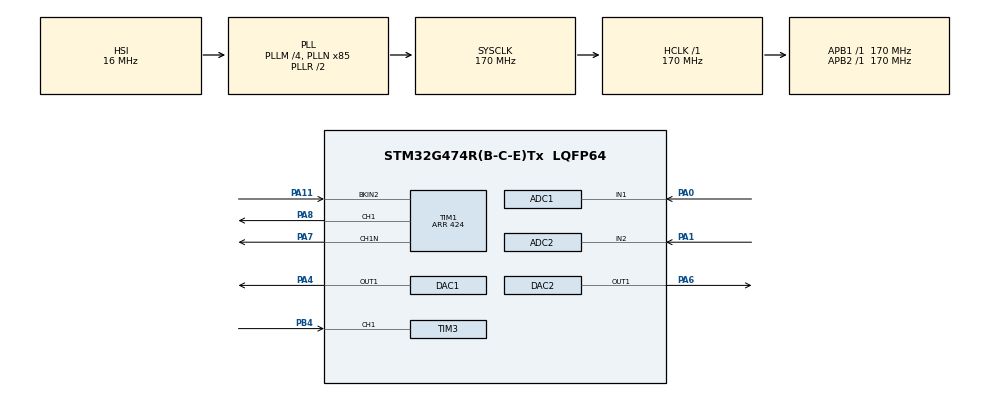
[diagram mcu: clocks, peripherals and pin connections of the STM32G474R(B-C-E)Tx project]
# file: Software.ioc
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ADC1.Channel-0\#ChannelRegularConversion=ADC_CHANNEL_1
ADC1.DMAAccessModeView=ENABLE
ADC1.DMAContinuousRequests=ENABLE
ADC1.ExternalTrigConv=ADC_EXTERNALTRIG_T1_TRGO
ADC1.Mode=ADC_DUALMODE_REGSIMULT
ADC1.NbrOfConversionFlag=1
ADC1.OffsetNumber-0\#ChannelRegularConversion=ADC_OFFSET_NONE
ADC1.Rank-0\#ChannelRegularConversion=1
ADC1.SamplingTime-0\#ChannelRegularConversion=ADC_SAMPLETIME_47CYCLES_5
ADC1.master=1
ADC2.Channel-0\#ChannelRegularConversion=ADC_CHANNEL_2
ADC2.DMAAccessModeView=ENABLE
ADC2.Mode=ADC_DUALMODE_REGSIMULT
ADC2.NbrOfConversionFlag=1
ADC2.OffsetNumber-0\#ChannelRegularConversion=ADC_OFFSET_NONE
ADC2.Rank-0\#ChannelRegularConversion=1
ADC2.SamplingTime-0\#ChannelRegularConversion=ADC_SAMPLETIME_47CYCLES_5
Dma.ADC1.0.Direction=DMA_PERIPH_TO_MEMORY
Dma.ADC1.0.EventEnable=DISABLE
Dma.ADC1.0.Instance=DMA1_Channel1
Dma.ADC1.0.MemDataAlignment=DMA_MDATAALIGN_WORD
Dma.ADC1.0.MemInc=DMA_MINC_DISABLE
Dma.ADC1.0.Mode=DMA_CIRCULAR
Dma.ADC1.0.PeriphDataAlignment=DMA_PDATAALIGN_WORD
Dma.ADC1.0.PeriphInc=DMA_PINC_DISABLE
Dma.ADC1.0.Polarity=HAL_DMAMUX_REQ_GEN_RISING
Dma.ADC1.0.Priority=DMA_PRIORITY_VERY_HIGH
Dma.ADC1.0.RequestNumber=1
Dma.ADC1.0.SignalID=NONE
Dma.ADC1.0.SyncEnable=DISABLE
Dma.ADC1.0.SyncPolarity=HAL_DMAMUX_SYNC_NO_EVENT
Dma.ADC1.0.SyncRequestNumber=1
Dma.ADC1.0.SyncSignalID=NONE
Dma.Request0=ADC1
IWDG.Prescaler=IWDG_PRESCALER_32
IWDG.Reload=1999
Mcu.Family=STM32G4
Mcu.Name=STM32G474R(B-C-E)Tx
Mcu.Package=LQFP64
NUCLEO-G474RE.BUTTON=0
NUCLEO-G474RE.LD2=true
NUCLEO-G474RE.VCP=true
NVIC.DMA1_Channel1_IRQn=true\:0\:0\:false\:false\:true\:false\:true\:true
NVIC.PriorityGroup=NVIC_PRIORITYGROUP_4
NVIC.TIM1_BRK_TIM15_IRQn=true\:1\:0\:true\:false\:true\:true\:true\:true
NVIC.TIM3_IRQn=true\:3\:0\:true\:false\:true\:true\:true\:true
PA0.Mode=IN1-Single-Ended
PA0.Signal=ADC1_IN1
PA1.Mode=IN2-Single-Ended
PA1.Signal=ADC2_IN2
PA11.Mode=Activate-Break-Input-2
PA11.Signal=TIM1_BKIN2
PA13.GPIO_Label=T_SWDIO
PA13.Signal=SYS_JTMS-SWDIO
PA14.GPIO_Label=T_SWCLK
PA14.Signal=SYS_JTCK-SWCLK
PA2.Signal=LPUART1_TX
PA3.Signal=LPUART1_RX
PA4.Signal=COMP_DAC11_group
PA6.Signal=COMP_DAC21_group
PA7.Mode=PWM Generation1 CH1 CH1N
PA7.Signal=TIM1_CH1N
PA8.Signal=S_TIM1_CH1
PB3.GPIO_Label=T_SWO
PB3.Signal=SYS_JTDO-SWO
PB4.Signal=S_TIM3_CH1
PC14-OSC32_IN.GPIO_Label=RCC_OSC32_IN
PC14-OSC32_IN.Signal=RCC_OSC32_IN
PC15-OSC32_OUT.GPIO_Label=RCC_OSC32_OUT
PC15-OSC32_OUT.Signal=RCC_OSC32_OUT
PF0-OSC_IN.GPIO_Label=RCC_OSC_IN
PF0-OSC_IN.Signal=RCC_OSC_IN
PF1-OSC_OUT.GPIO_Label=RCC_OSC_OUT
PF1-OSC_OUT.Signal=RCC_OSC_OUT
ProjectManager.HeapSize=0x200
ProjectManager.StackSize=0x400
ProjectManager.TargetToolchain=EWARM V8.50
RCC.ADC12Freq_Value=170000000
RCC.ADC345Freq_Value=170000000
RCC.AHBFreq_Value=170000000
RCC.APB1Freq_Value=170000000
RCC.APB1TimFreq_Value=170000000
RCC.APB2Freq_Value=170000000
RCC.APB2TimFreq_Value=170000000
RCC.CortexFreq_Value=170000000
RCC.EXTERNAL_CLOCK_VALUE=12288000
RCC.HCLKFreq_Value=170000000
RCC.HSE_VALUE=24000000
RCC.HSI48_VALUE=48000000
RCC.HSI_VALUE=16000000
RCC.LSE_VALUE=32768
RCC.PLLM=RCC_PLLM_DIV4
RCC.PLLN=85
RCC.RTCClockSelection=RCC_RTCCLKSOURCE_LSE
RCC.SYSCLKFreq_VALUE=170000000
RCC.SYSCLKSource=RCC_SYSCLKSOURCE_PLLCLK
RCC.USBFreq_Value=170000000
RCC.VCOOutputFreq_Value=340000000
SH.COMP_DAC11_group.0=DAC1_OUT1,DAC_OUT1
SH.COMP_DAC21_group.0=DAC2_OUT1,DAC_OUT1
SH.S_TIM1_CH1.0=TIM1_CH1,PWM Generation1 CH1 CH1N
SH.S_TIM3_CH1.0=TIM3_CH1,Input_Capture1_from_TI1
SH.S_TIM3_CH1.1=TIM3_CH1
TIM1.Break2Filter=2
TIM1.Channel-PWM\ Generation1\ CH1\ CH1N=TIM_CHANNEL_1
TIM1.DeadTime=17
TIM1.PeriodNoDither=424
TIM1.TIM_MasterOutputTrigger=TIM_TRGO_UPDATE
TIM3.Channel-Input_Capture1_from_TI1=TIM_CHANNEL_1
TIM3.Channel-Input_Capture2_from_TI1_63=TIM_CHANNEL_2
TIM3.ICPolarity_CH2=TIM_INPUTCHANNELPOLARITY_FALLING
VP_IWDG_VS_IWDG.Mode=IWDG_Activate
VP_NUCLEO-G474RE_VS_BSP_COMMON.Mode=COMMON
VP_SYS_VS_DBSignals.Mode=DisableDeadBatterySignals
VP_TIM3_VS_indirect_ch1.Mode=Input_Capture2_from_TI1_63
board=NUCLEO-G474RE

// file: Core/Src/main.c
/* USER CODE BEGIN Header */
/**
  ******************************************************************************
  * @file           : main.c
  * @brief          : Main program body
  ******************************************************************************
  * @attention
  *
  * Copyright (c) 2026 STMicroelectronics.
  * All rights reserved.
  *
  * This software is licensed under terms that can be found in the LICENSE file
  * in the root directory of this software component.
  * If no LICENSE file comes with this software, it is provided AS-IS.
  *
  ******************************************************************************
  */
/* USER CODE END Header */
#include "main.h"

/* USER CODE BEGIN PTD */
/* sys_state_t moved to main.h (USER CODE ET): it is now shared with the lean
 * DMA error path in stm32g4xx_it.c, which latches SYS_STATE_FAULT directly. */
/* USER CODE END PTD */

/* USER CODE BEGIN PD */
/* --- Power stage / timing --------------------------------------------------
 * TIM1: 170 MHz, PSC = 0, ARR = 424 -> Fsw = 400 kHz, period = 2.5 us.
 * DTG = 17 -> hardware dead-time = 17 / 170 MHz = 100 ns per switching edge. */
#define PWM_PERIOD_TICKS        425.0f      /* ARR + 1                                    */
#define CTRL_TS_SEC             2.5e-6f     /* control ISR period (TIM1 update = 400 kHz) */
#define PWM_DEADTIME_NS         100.0f
#define PWM_PERIOD_NS           2500.0f
/* LS on-time loses one dead-time at each of its two transitions -> 8 % of period */
#define PWM_DEADTIME_PCT        (2.0f * PWM_DEADTIME_NS / PWM_PERIOD_NS * 100.0f)
#define CCR_TO_PCT              (100.0f / PWM_PERIOD_TICKS)

/* --- Analog scaling (precomputed reciprocals: no division in the ISR) ------ */
#define ADC_VREF_V              3.3f
#define ADC_FULL_SCALE          4095.0f
#define VFB_DIVIDER_GAIN        0.4047619f  /* V_FB divider: ADC sees Vout * this         */
#define CURR_SENSE_V_PER_A      0.25f       /* INA241A3 gain 50 x 5 mOhm shunt            */
#define ADC_RAW_TO_VOUT_V       ((ADC_VREF_V / ADC_FULL_SCALE) / VFB_DIVIDER_GAIN)   /* ~1.9910e-3 V/LSB */
#define ADC_RAW_TO_AMPS         ((ADC_VREF_V / ADC_FULL_SCALE) / CURR_SENSE_V_PER_A) /* ~3.2234e-3 A/LSB */
#define AMPS_TO_DAC_COUNTS      (CURR_SENSE_V_PER_A * ADC_FULL_SCALE / ADC_VREF_V)   /* ~310.23 LSB/A    */
#define DAC_FULL_SCALE_A        13.2f       /* 3.3 V / 0.25 V/A: max representable trip   */

/* --- Limits / interlocks ---------------------------------------------------- */
#define OC_TRIP_MIN_A           0.5f        /* start refused while set_oc_trip_A < this   */
#define DUTY_MAX_ABS            0.98f       /* absolute ceiling for set_duty_max          */
#define VOUT_SET_MAX_V          8.0f        /* V_FB divider saturates the ADC at ~8.15 V  */
#define SOFTSTART_MS_MIN        1.0f        /* also guards the ramp-increment division    */
#define SOFTSTART_MS_MAX        10000.0f

/* --- Start-up hold ----------------------------------------------------------
 * Nothing may be armed for this long after reset. Gives the input rail, the
 * INA241 sense amp and the TLV3603 OC comparator (whose PROT_REF is only
 * written once the main loop reaches app_apply_dac_refs()) time to settle, and
 * gives the debugger time to take hold before the half-bridge can ever be
 * energized. Enforced as a non-blocking gate on cmd_start rather than as a
 * HAL_Delay(): the main loop must keep servicing the IWDG heartbeat gate and
 * the CubeMonitor variables throughout the hold.                              */
#define STARTUP_HOLD_MS         500u

/* --- LD2 state indicator blink cadence (non-blocking) ----------------------- */
#define LED_BLINK_SOFTSTART_MS  100u        /* fast blink while ramping                  */
#define LED_BLINK_RUN_MS        500u        /* slow blink while regulating               */
/* USER CODE END PD */

COM_InitTypeDef BspCOMInit;
ADC_HandleTypeDef hadc1;
ADC_HandleTypeDef hadc2;
DMA_HandleTypeDef hdma_adc1;

DAC_HandleTypeDef hdac1;
DAC_HandleTypeDef hdac2;

IWDG_HandleTypeDef hiwdg;

TIM_HandleTypeDef htim1;
TIM_HandleTypeDef htim3;

/* USER CODE BEGIN PV */
/* ===================== CubeMonitor: monitoring (firmware -> user) ========= */
volatile float    mon_vout_V             = 0.0f;           /* measured output voltage [V]            */
volatile float    mon_current_A          = 0.0f;           /* measured output current [A]            */
volatile float    mon_pwm_hs_duty_pct    = 0.0f;           /* high-side effective duty [%]           */
volatile float    mon_pwm_ls_duty_pct    = 0.0f;           /* low-side effective duty [%]            */
volatile uint8_t  mon_pwm_hs_active      = 0u;             /* 1 = MOE on and HS switching            */
volatile uint8_t  mon_pwm_ls_active      = 0u;             /* 1 = MOE on (LS driven)                 */
volatile uint8_t  mon_prot_out_state     = 0u;             /* live PROT_OUT pin level (PA11)         */
volatile uint8_t  mon_dt_out_state       = 0u;             /* live DT_OUT comparator level (PB4)     */
volatile uint32_t mon_dt_edge_count      = 0u;             /* total DT_OUT edges captured by TIM3    */
volatile uint32_t mon_dt_pulse_width_ns  = 0u;             /* last DT_OUT high-pulse width [ns]      */
volatile uint8_t  mon_sys_state          = SYS_STATE_INIT; /* sys_state_t enum                       */
volatile uint8_t  mon_fault_latched      = 0u;             /* 1 = BRK2 fault latched                 */
volatile uint8_t  mon_interlock_oc_not_armed = 0u;         /* 1 = set_oc_trip_A < 0.5 A, start blocked */
volatile uint32_t mon_ctrl_loop_count    = 0u;             /* 400 kHz control ISR heartbeat          */

/* ===================== CubeMonitor: tunables (user -> firmware) =========== */
volatile float set_vout_V       = 6.0f;   /* output voltage setpoint [V], clamp [0, 8.0]             */
volatile float set_kp           = 0.02f;  /* PI proportional gain [duty/V], clamp >= 0               */
volatile float set_ki           = 50.0f;  /* PI integral gain [duty/(V*s)], clamp >= 0               */
volatile float set_oc_trip_A    = 0.0f;   /* OC comparator trip [A]; must be >= 0.5 A to allow start */
volatile float set_dt_ref_A     = 0.1f;   /* switching-activity comparator threshold [A]             */
volatile float set_duty_max     = 0.95f;  /* HS duty ceiling [0..1], clamp [0, 0.98]                 */
volatile float set_softstart_ms = 50.0f;  /* soft-start ramp duration [ms], clamp [1, 10000]         */

/* ===================== CubeMonitor: commands (write 1; consumed by main loop) */
volatile uint8_t cmd_start       = 0u;    /* request IDLE -> SOFT_START                              */
volatile uint8_t cmd_stop        = 0u;    /* request SOFT_START/RUN -> IDLE                          */
volatile uint8_t cmd_clear_fault = 0u;    /* request FAULT -> IDLE (only if PROT_OUT low)            */

/* ===================== internal control state ============================= */
static volatile uint32_t adc_dual_raw = 0u;       /* DMA dest: ADC1 (V_FB) low half, ADC2 (SENSE) high half */
static volatile float ctrl_integrator = 0.0f;     /* PI integrator [duty]                                   */
static volatile float ctrl_duty_limit = 0.0f;     /* soft-start ramped duty ceiling [duty]                  */
static volatile float ctrl_ss_increment = 0.0f;   /* duty-limit increment per control tick                  */
static volatile float ctrl_duty_max_cached = 0.0f;/* clamped copy of set_duty_max (main-loop owned)         */
static volatile uint8_t ctrl_ramp_done = 0u;      /* control ISR -> main loop: soft-start ramp finished     */
static float dac_oc_applied_A = -1.0f;            /* last value written to PROT_REF (-1 forces first write) */
static float dac_dt_applied_A = -1.0f;            /* last value written to DT_REF                           */
static uint32_t iwdg_last_ctrl_count = 0u;        /* main-loop copy of the control heartbeat                */
static uint32_t led_last_toggle_ms = 0u;          /* HAL_GetTick() at the last LD2 toggle (blink codes)     */
/* USER CODE END PV */

void SystemClock_Config(void);
static void MX_GPIO_Init(void);
static void MX_DMA_Init(void);
static void MX_ADC1_Init(void);
static void MX_ADC2_Init(void);
static void MX_TIM1_Init(void);
static void MX_DAC1_Init(void);
static void MX_DAC2_Init(void);
static void MX_IWDG_Init(void);
static void MX_TIM3_Init(void);
/* USER CODE BEGIN PFP */
static void app_clamp_tunables(void);
static void app_apply_dac_refs(void);
static void app_enter_idle(void);
static void app_arm_soft_start(void);
static void app_clear_fault(void);
/* USER CODE END PFP */

int main(void)
{

  /* MCU Configuration--------------------------------------------------------*/

  /* Reset of all peripherals, Initializes the Flash interface and the Systick. */
  HAL_Init();

  /* Configure the system clock */
  SystemClock_Config();

  /* USER CODE BEGIN SysInit */
  /* Freeze TIM1 and IWDG while the core is halted by the debugger: breakpoints
     must not leave the power stage mid-PWM-cycle or trip the watchdog.        */
  __HAL_DBGMCU_FREEZE_TIM1();
  __HAL_DBGMCU_FREEZE_IWDG();
  /* USER CODE END SysInit */

  /* Initialize all configured peripherals */
  MX_GPIO_Init();
  MX_DMA_Init();
  MX_ADC1_Init();
  MX_ADC2_Init();
  MX_TIM1_Init();
  MX_DAC1_Init();
  MX_DAC2_Init();
  MX_IWDG_Init();
  MX_TIM3_Init();
  /* USER CODE BEGIN 2 */
  /* --- ADC calibration: both units, single-ended, before any conversion --- */
  if (HAL_ADCEx_Calibration_Start(&hadc1, ADC_SINGLE_ENDED) != HAL_OK)
  {
    Error_Handler();
  }
  if (HAL_ADCEx_Calibration_Start(&hadc2, ADC_SINGLE_ENDED) != HAL_OK)
  {
    Error_Handler();
  }

  /* --- DAC comparator references: start and apply the power-on defaults.
         PROT_REF (DAC1_OUT1/PA4) from set_oc_trip_A (default 0 A = disarmed),
         DT_REF   (DAC2_OUT1/PA6) from set_dt_ref_A  (default 0.1 A).        */
  if (HAL_DAC_Start(&hdac1, DAC_CHANNEL_1) != HAL_OK)
  {
    Error_Handler();
  }
  if (HAL_DAC_Start(&hdac2, DAC_CHANNEL_1) != HAL_OK)
  {
    Error_Handler();
  }
  app_clamp_tunables();
  app_apply_dac_refs();

  /* --- Dual regular-simultaneous ADC via DMA: one circular 32-bit transfer
         from the common data register (ADC1 low half, ADC2 high half).      */
  if (HAL_ADCEx_MultiModeStart_DMA(&hadc1, (uint32_t *)&adc_dual_raw, 1u) != HAL_OK)
  {
    Error_Handler();
  }
  /* With NDTR = 1 the half-transfer event fires together with transfer-complete;
     left enabled it would double the 400 kHz interrupt load for nothing. Only
     TC runs the lean dispatch in DMA1_Channel1_IRQHandler (stm32g4xx_it.c),
     which clears the stale HT flag alongside TC.                              */
  __HAL_DMA_DISABLE_IT(&hdma_adc1, DMA_IT_HT);

  /* --- TIM3 input captures for the switching-activity comparator (DT_OUT/PB4).
         Edges are serviced by a lean handler in stm32g4xx_it.c.              */
  if (HAL_TIM_IC_Start_IT(&htim3, TIM_CHANNEL_1) != HAL_OK)  /* rising edge  */
  {
    Error_Handler();
  }
  if (HAL_TIM_IC_Start_IT(&htim3, TIM_CHANNEL_2) != HAL_OK)  /* falling edge */
  {
    Error_Handler();
  }

  /* --- TIM1: run the counter so TRGO keeps triggering the ADCs from boot, with
         both gate outputs held inactive. HAL_TIM_PWM_Start/PWMN_Start are NOT
         used here: both set MOE internally, which would drive the LS gate for
         several microseconds at boot — dangerous after a warm reset with a
         charged output. Direct register writes enable the channels and the
         counter without ever touching MOE (CCR1 is already 0, MOE stays 0 from
         reset); OSSR = Enable means both outputs are actively driven to their
         inactive level, not floated. app_arm_soft_start() is the ONLY place in
         the firmware where MOE is ever set.                                   */
  htim1.Instance->CCR1 = 0u;
  TIM1->CCER |= (TIM_CCER_CC1E | TIM_CCER_CC1NE);  /* HS: PA8, LS: PA7        */
  TIM1->CR1  |= TIM_CR1_CEN;                       /* TRGO = Update -> ADCs   */
  /* The generated init does not enable the break interrupt source; the NVIC
     vector alone is not enough for HAL_TIMEx_Break2Callback to fire.         */
  __HAL_TIM_ENABLE_IT(&htim1, TIM_IT_BREAK);

  /* INIT -> IDLE: outputs off, converter waits for cmd_start. A BRK2 event can
     already fire here (PROT_OUT stuck high at boot) — never overwrite a
     freshly latched FAULT with IDLE.                                          */
  __disable_irq();
  if (mon_sys_state != SYS_STATE_FAULT)
  {
    mon_sys_state = SYS_STATE_IDLE;
  }
  __enable_irq();
  /* USER CODE END 2 */

  /* Initialize led */
  BSP_LED_Init(LED_GREEN);

  /* Initialize COM1 port (115200, 8 bits (7-bit data + 1 stop bit), no parity */
  BspCOMInit.BaudRate   = 115200;
  BspCOMInit.WordLength = COM_WORDLENGTH_8B;
  BspCOMInit.StopBits   = COM_STOPBITS_1;
  BspCOMInit.Parity     = COM_PARITY_NONE;
  BspCOMInit.HwFlowCtl  = COM_HWCONTROL_NONE;
  if (BSP_COM_Init(COM1, &BspCOMInit) != BSP_ERROR_NONE)
  {
    Error_Handler();
  }

  /* Infinite loop */
  /* USER CODE BEGIN WHILE */
  while (1)
  {
    /* --- live pin monitors (GPIO input path is valid even in AF mode) ------ */
    mon_prot_out_state = (uint8_t)((GPIOA->IDR >> 11) & 1u); /* PA11 = PROT_OUT / TIM1_BKIN2 */
    mon_dt_out_state   = (uint8_t)((GPIOB->IDR >> 4) & 1u);  /* PB4  = DT_OUT (this poll is the single owner) */

    /* --- tunable sanitation + DAC reference updates ------------------------ */
    app_clamp_tunables();
    app_apply_dac_refs();

    /* live interlock indicator: start refused while the OC trip is below minimum.
       Single volatile read, NaN-rejecting comparison: a NaN written between the
       clamp above and this line must read as "not armed".                      */
    {
      float oc_trip = set_oc_trip_A;
      mon_interlock_oc_not_armed = (!(oc_trip >= OC_TRIP_MIN_A)) ? 1u : 0u;
    }

    /* --- consume commands / state machine ---------------------------------- */
    if (cmd_stop != 0u)
    {
      cmd_stop = 0u;
      if ((mon_sys_state == SYS_STATE_SOFT_START) || (mon_sys_state == SYS_STATE_RUN))
      {
        app_enter_idle();
      }
    }

    if (cmd_start != 0u)
    {
      /* Start-up hold: refuse to arm until STARTUP_HOLD_MS has elapsed since
         reset (see STARTUP_HOLD_MS). The command is deliberately NOT consumed
         inside the hold, so a start requested early — e.g. a CubeMonitor write
         landing right after an IWDG-driven reset — is honoured the moment the
         hold expires instead of being silently dropped.                       */
      if (HAL_GetTick() >= STARTUP_HOLD_MS)
      {
        cmd_start = 0u;
        if ((mon_sys_state == SYS_STATE_IDLE) && (mon_interlock_oc_not_armed == 0u))
        {
          app_arm_soft_start();
        }
      }
    }

    if (cmd_clear_fault != 0u)
    {
      cmd_clear_fault = 0u;
      /* explicit FAULT -> IDLE transition; refuses (atomically, on the live
         PA11 level) while the OC comparator output is still tripped (high)   */
      app_clear_fault();
    }

    /* --- SOFT_START -> RUN: performed here, not in the control ISR, so the
           state machine has a single ISR writer (the break path) and the
           transition can never depend on interrupt priorities.               */
    if (ctrl_ramp_done != 0u)
    {
      __disable_irq();
      if (mon_sys_state == SYS_STATE_SOFT_START)
      {
        mon_sys_state = SYS_STATE_RUN;
      }
      ctrl_ramp_done = 0u;
      __enable_irq();
    }

    /* --- LD2 state indicator ------------------------------------------------
           The converter is driven from CubeMonitor, but the bench operator
           still needs glance-able state with no debugger attached — the same
           blink-code idea the open-loop bring-up firmware uses. Done off
           HAL_GetTick() rather than HAL_Delay(): blocking here would stall the
           command handling and the IWDG heartbeat gate below.
             solid on   = FAULT (latched)
             fast blink = SOFT_START (duty limit ramping)
             slow blink = RUN (closed-loop regulation)
             off        = INIT / IDLE (outputs off)                            */
    {
      uint8_t  led_state = mon_sys_state;          /* single volatile read     */
      uint32_t now_ms    = HAL_GetTick();

      if (led_state == SYS_STATE_FAULT)
      {
        BSP_LED_On(LED_GREEN);
      }
      else if (led_state == SYS_STATE_SOFT_START)
      {
        if ((now_ms - led_last_toggle_ms) >= LED_BLINK_SOFTSTART_MS)
        {
          led_last_toggle_ms = now_ms;
          BSP_LED_Toggle(LED_GREEN);
        }
      }
      else if (led_state == SYS_STATE_RUN)
      {
        if ((now_ms - led_last_toggle_ms) >= LED_BLINK_RUN_MS)
        {
          led_last_toggle_ms = now_ms;
          BSP_LED_Toggle(LED_GREEN);
        }
      }
      else
      {
        BSP_LED_Off(LED_GREEN);
        led_last_toggle_ms = now_ms;   /* next blink starts a full period long */
      }
    }

    /* --- IWDG: refresh only while the 400 kHz control ISR is alive.
           If the ADC/DMA/trigger chain dies, the heartbeat stops advancing and
           the watchdog resets the MCU (2 s timeout).                          */
    {
      uint32_t count_now = mon_ctrl_loop_count;
      if (count_now != iwdg_last_ctrl_count)
      {
        iwdg_last_ctrl_count = count_now;
        (void)HAL_IWDG_Refresh(&hiwdg);
      }
    }
    /* USER CODE END WHILE */

  }
}

void SystemClock_Config(void)
{
  RCC_OscInitTypeDef RCC_OscInitStruct = {0};
  RCC_ClkInitTypeDef RCC_ClkInitStruct = {0};

  /** Configure the main internal regulator output voltage
  */
  HAL_PWREx_ControlVoltageScaling(PWR_REGULATOR_VOLTAGE_SCALE1_BOOST);

  /** Initializes the RCC Oscillators according to the specified parameters
  * in the RCC_OscInitTypeDef structure.
  */
  RCC_OscInitStruct.OscillatorType = RCC_OSCILLATORTYPE_HSI|RCC_OSCILLATORTYPE_LSI;
  RCC_OscInitStruct.HSIState = RCC_HSI_ON;
  RCC_OscInitStruct.HSICalibrationValue = RCC_HSICALIBRATION_DEFAULT;
  RCC_OscInitStruct.LSIState = RCC_LSI_ON;
  RCC_OscInitStruct.PLL.PLLState = RCC_PLL_ON;
  RCC_OscInitStruct.PLL.PLLSource = RCC_PLLSOURCE_HSI;
  RCC_OscInitStruct.PLL.PLLM = RCC_PLLM_DIV4;
  RCC_OscInitStruct.PLL.PLLN = 85;
  RCC_OscInitStruct.PLL.PLLP = RCC_PLLP_DIV2;
  RCC_OscInitStruct.PLL.PLLQ = RCC_PLLQ_DIV2;
  RCC_OscInitStruct.PLL.PLLR = RCC_PLLR_DIV2;
  if (HAL_RCC_OscConfig(&RCC_OscInitStruct) != HAL_OK)
  {
    Error_Handler();
  }

  /** Initializes the CPU, AHB and APB buses clocks
  */
  RCC_ClkInitStruct.ClockType = RCC_CLOCKTYPE_HCLK|RCC_CLOCKTYPE_SYSCLK
                              |RCC_CLOCKTYPE_PCLK1|RCC_CLOCKTYPE_PCLK2;
  RCC_ClkInitStruct.SYSCLKSource = RCC_SYSCLKSOURCE_PLLCLK;
  RCC_ClkInitStruct.AHBCLKDivider = RCC_SYSCLK_DIV1;
  RCC_ClkInitStruct.APB1CLKDivider = RCC_HCLK_DIV1;
  RCC_ClkInitStruct.APB2CLKDivider = RCC_HCLK_DIV1;

  if (HAL_RCC_ClockConfig(&RCC_ClkInitStruct, FLASH_LATENCY_4) != HAL_OK)
  {
    Error_Handler();
  }
}

static void MX_ADC1_Init(void)
{

  ADC_MultiModeTypeDef multimode = {0};
  ADC_ChannelConfTypeDef sConfig = {0};

  /** Common config
  */
  hadc1.Instance = ADC1;
  hadc1.Init.ClockPrescaler = ADC_CLOCK_SYNC_PCLK_DIV4;
  hadc1.Init.Resolution = ADC_RESOLUTION_12B;
  hadc1.Init.DataAlign = ADC_DATAALIGN_RIGHT;
  hadc1.Init.GainCompensation = 0;
  hadc1.Init.ScanConvMode = ADC_SCAN_DISABLE;
  hadc1.Init.EOCSelection = ADC_EOC_SINGLE_CONV;
  hadc1.Init.LowPowerAutoWait = DISABLE;
  hadc1.Init.ContinuousConvMode = DISABLE;
  hadc1.Init.NbrOfConversion = 1;
  hadc1.Init.DiscontinuousConvMode = DISABLE;
  hadc1.Init.ExternalTrigConv = ADC_EXTERNALTRIG_T1_TRGO;
  hadc1.Init.ExternalTrigConvEdge = ADC_EXTERNALTRIGCONVEDGE_RISING;
  hadc1.Init.DMAContinuousRequests = ENABLE;
  hadc1.Init.Overrun = ADC_OVR_DATA_PRESERVED;
  hadc1.Init.OversamplingMode = DISABLE;
  if (HAL_ADC_Init(&hadc1) != HAL_OK)
  {
    Error_Handler();
  }

  /** Configure the ADC multi-mode
  */
  multimode.Mode = ADC_DUALMODE_REGSIMULT;
  multimode.DMAAccessMode = ADC_DMAACCESSMODE_12_10_BITS;
  multimode.TwoSamplingDelay = ADC_TWOSAMPLINGDELAY_1CYCLE;
  if (HAL_ADCEx_MultiModeConfigChannel(&hadc1, &multimode) != HAL_OK)
  {
    Error_Handler();
  }

  /** Configure Regular Channel
  */
  sConfig.Channel = ADC_CHANNEL_1;
  sConfig.Rank = ADC_REGULAR_RANK_1;
  sConfig.SamplingTime = ADC_SAMPLETIME_47CYCLES_5;
  sConfig.SingleDiff = ADC_SINGLE_ENDED;
  sConfig.OffsetNumber = ADC_OFFSET_NONE;
  sConfig.Offset = 0;
  if (HAL_ADC_ConfigChannel(&hadc1, &sConfig) != HAL_OK)
  {
    Error_Handler();
  }

}

static void MX_ADC2_Init(void)
{

  ADC_ChannelConfTypeDef sConfig = {0};

  /** Common config
  */
  hadc2.Instance = ADC2;
  hadc2.Init.ClockPrescaler = ADC_CLOCK_SYNC_PCLK_DIV4;
  hadc2.Init.Resolution = ADC_RESOLUTION_12B;
  hadc2.Init.DataAlign = ADC_DATAALIGN_RIGHT;
  hadc2.Init.GainCompensation = 0;
  hadc2.Init.ScanConvMode = ADC_SCAN_DISABLE;
  hadc2.Init.EOCSelection = ADC_EOC_SINGLE_CONV;
  hadc2.Init.LowPowerAutoWait = DISABLE;
  hadc2.Init.ContinuousConvMode = DISABLE;
  hadc2.Init.NbrOfConversion = 1;
  hadc2.Init.DiscontinuousConvMode = DISABLE;
  hadc2.Init.DMAContinuousRequests = DISABLE;
  hadc2.Init.Overrun = ADC_OVR_DATA_PRESERVED;
  hadc2.Init.OversamplingMode = DISABLE;
  if (HAL_ADC_Init(&hadc2) != HAL_OK)
  {
    Error_Handler();
  }

  /** Configure Regular Channel
  */
  sConfig.Channel = ADC_CHANNEL_2;
  sConfig.Rank = ADC_REGULAR_RANK_1;
  sConfig.SamplingTime = ADC_SAMPLETIME_47CYCLES_5;
  sConfig.SingleDiff = ADC_SINGLE_ENDED;
  sConfig.OffsetNumber = ADC_OFFSET_NONE;
  sConfig.Offset = 0;
  if (HAL_ADC_ConfigChannel(&hadc2, &sConfig) != HAL_OK)
  {
    Error_Handler();
  }

}

static void MX_DAC1_Init(void)
{

  DAC_ChannelConfTypeDef sConfig = {0};

  /** DAC Initialization
  */
  hdac1.Instance = DAC1;
  if (HAL_DAC_Init(&hdac1) != HAL_OK)
  {
    Error_Handler();
  }

  /** DAC channel OUT1 config
  */
  sConfig.DAC_HighFrequency = DAC_HIGH_FREQUENCY_INTERFACE_MODE_AUTOMATIC;
  sConfig.DAC_DMADoubleDataMode = DISABLE;
  sConfig.DAC_SignedFormat = DISABLE;
  sConfig.DAC_SampleAndHold = DAC_SAMPLEANDHOLD_DISABLE;
  sConfig.DAC_Trigger = DAC_TRIGGER_NONE;
  sConfig.DAC_Trigger2 = DAC_TRIGGER_NONE;
  sConfig.DAC_OutputBuffer = DAC_OUTPUTBUFFER_ENABLE;
  sConfig.DAC_ConnectOnChipPeripheral = DAC_CHIPCONNECT_EXTERNAL;
  sConfig.DAC_UserTrimming = DAC_TRIMMING_FACTORY;
  if (HAL_DAC_ConfigChannel(&hdac1, &sConfig, DAC_CHANNEL_1) != HAL_OK)
  {
    Error_Handler();
  }

}

static void MX_DAC2_Init(void)
{

  DAC_ChannelConfTypeDef sConfig = {0};

  /** DAC Initialization
  */
  hdac2.Instance = DAC2;
  if (HAL_DAC_Init(&hdac2) != HAL_OK)
  {
    Error_Handler();
  }

  /** DAC channel OUT1 config
  */
  sConfig.DAC_HighFrequency = DAC_HIGH_FREQUENCY_INTERFACE_MODE_AUTOMATIC;
  sConfig.DAC_DMADoubleDataMode = DISABLE;
  sConfig.DAC_SignedFormat = DISABLE;
  sConfig.DAC_SampleAndHold = DAC_SAMPLEANDHOLD_DISABLE;
  sConfig.DAC_Trigger = DAC_TRIGGER_NONE;
  sConfig.DAC_Trigger2 = DAC_TRIGGER_NONE;
  sConfig.DAC_OutputBuffer = DAC_OUTPUTBUFFER_ENABLE;
  sConfig.DAC_ConnectOnChipPeripheral = DAC_CHIPCONNECT_EXTERNAL;
  sConfig.DAC_UserTrimming = DAC_TRIMMING_FACTORY;
  if (HAL_DAC_ConfigChannel(&hdac2, &sConfig, DAC_CHANNEL_1) != HAL_OK)
  {
    Error_Handler();
  }

}

static void MX_IWDG_Init(void)
{

  hiwdg.Instance = IWDG;
  hiwdg.Init.Prescaler = IWDG_PRESCALER_32;
  hiwdg.Init.Window = 4095;
  hiwdg.Init.Reload = 1999;
  if (HAL_IWDG_Init(&hiwdg) != HAL_OK)
  {
    Error_Handler();
  }

}

static void MX_TIM1_Init(void)
{

  TIM_MasterConfigTypeDef sMasterConfig = {0};
  TIMEx_BreakInputConfigTypeDef sBreakInputConfig = {0};
  TIM_OC_InitTypeDef sConfigOC = {0};
  TIM_BreakDeadTimeConfigTypeDef sBreakDeadTimeConfig = {0};

  htim1.Instance = TIM1;
  htim1.Init.Prescaler = 0;
  htim1.Init.CounterMode = TIM_COUNTERMODE_UP;
  htim1.Init.Period = 424;
  htim1.Init.ClockDivision = TIM_CLOCKDIVISION_DIV1;
  htim1.Init.RepetitionCounter = 0;
  htim1.Init.AutoReloadPreload = TIM_AUTORELOAD_PRELOAD_DISABLE;
  if (HAL_TIM_PWM_Init(&htim1) != HAL_OK)
  {
    Error_Handler();
  }
  sMasterConfig.MasterOutputTrigger = TIM_TRGO_UPDATE;
  sMasterConfig.MasterOutputTrigger2 = TIM_TRGO2_RESET;
  sMasterConfig.MasterSlaveMode = TIM_MASTERSLAVEMODE_DISABLE;
  if (HAL_TIMEx_MasterConfigSynchronization(&htim1, &sMasterConfig) != HAL_OK)
  {
    Error_Handler();
  }
  sBreakInputConfig.Source = TIM_BREAKINPUTSOURCE_BKIN;
  sBreakInputConfig.Enable = TIM_BREAKINPUTSOURCE_ENABLE;
  sBreakInputConfig.Polarity = TIM_BREAKINPUTSOURCE_POLARITY_HIGH;
  if (HAL_TIMEx_ConfigBreakInput(&htim1, TIM_BREAKINPUT_BRK2, &sBreakInputConfig) != HAL_OK)
  {
    Error_Handler();
  }
  sConfigOC.OCMode = TIM_OCMODE_PWM1;
  sConfigOC.Pulse = 0;
  sConfigOC.OCPolarity = TIM_OCPOLARITY_HIGH;
  sConfigOC.OCNPolarity = TIM_OCNPOLARITY_HIGH;
  sConfigOC.OCFastMode = TIM_OCFAST_DISABLE;
  sConfigOC.OCIdleState = TIM_OCIDLESTATE_RESET;
  sConfigOC.OCNIdleState = TIM_OCNIDLESTATE_RESET;
  if (HAL_TIM_PWM_ConfigChannel(&htim1, &sConfigOC, TIM_CHANNEL_1) != HAL_OK)
  {
    Error_Handler();
  }
  sBreakDeadTimeConfig.OffStateRunMode = TIM_OSSR_ENABLE;
  sBreakDeadTimeConfig.OffStateIDLEMode = TIM_OSSI_ENABLE;
  sBreakDeadTimeConfig.LockLevel = TIM_LOCKLEVEL_OFF;
  sBreakDeadTimeConfig.DeadTime = 17;
  sBreakDeadTimeConfig.BreakState = TIM_BREAK_DISABLE;
  sBreakDeadTimeConfig.BreakPolarity = TIM_BREAKPOLARITY_HIGH;
  sBreakDeadTimeConfig.BreakFilter = 0;
  sBreakDeadTimeConfig.BreakAFMode = TIM_BREAK_AFMODE_INPUT;
  sBreakDeadTimeConfig.Break2State = TIM_BREAK2_ENABLE;
  sBreakDeadTimeConfig.Break2Polarity = TIM_BREAK2POLARITY_HIGH;
  sBreakDeadTimeConfig.Break2Filter = 2;
  sBreakDeadTimeConfig.Break2AFMode = TIM_BREAK_AFMODE_INPUT;
  sBreakDeadTimeConfig.AutomaticOutput = TIM_AUTOMATICOUTPUT_DISABLE;
  if (HAL_TIMEx_ConfigBreakDeadTime(&htim1, &sBreakDeadTimeConfig) != HAL_OK)
  {
    Error_Handler();
  }
  HAL_TIM_MspPostInit(&htim1);

}

static void MX_TIM3_Init(void)
{

  TIM_MasterConfigTypeDef sMasterConfig = {0};
  TIM_IC_InitTypeDef sConfigIC = {0};

  htim3.Instance = TIM3;
  htim3.Init.Prescaler = 0;
  htim3.Init.CounterMode = TIM_COUNTERMODE_UP;
  htim3.Init.Period = 65535;
  htim3.Init.ClockDivision = TIM_CLOCKDIVISION_DIV1;
  htim3.Init.AutoReloadPreload = TIM_AUTORELOAD_PRELOAD_DISABLE;
  if (HAL_TIM_IC_Init(&htim3) != HAL_OK)
  {
    Error_Handler();
  }
  sMasterConfig.MasterOutputTrigger = TIM_TRGO_RESET;
  sMasterConfig.MasterSlaveMode = TIM_MASTERSLAVEMODE_DISABLE;
  if (HAL_TIMEx_MasterConfigSynchronization(&htim3, &sMasterConfig) != HAL_OK)
  {
    Error_Handler();
  }
  sConfigIC.ICPolarity = TIM_INPUTCHANNELPOLARITY_RISING;
  sConfigIC.ICSelection = TIM_ICSELECTION_DIRECTTI;
  sConfigIC.ICPrescaler = TIM_ICPSC_DIV1;
  sConfigIC.ICFilter = 0;
  if (HAL_TIM_IC_ConfigChannel(&htim3, &sConfigIC, TIM_CHANNEL_1) != HAL_OK)
  {
    Error_Handler();
  }
  sConfigIC.ICPolarity = TIM_INPUTCHANNELPOLARITY_FALLING;
  sConfigIC.ICSelection = TIM_ICSELECTION_INDIRECTTI;
  if (HAL_TIM_IC_ConfigChannel(&htim3, &sConfigIC, TIM_CHANNEL_2) != HAL_OK)
  {
    Error_Handler();
  }

}

static void MX_DMA_Init(void)
{

  /* DMA controller clock enable */
  __HAL_RCC_DMAMUX1_CLK_ENABLE();
  __HAL_RCC_DMA1_CLK_ENABLE();

  /* DMA interrupt init */
  /* DMA1_Channel1_IRQn interrupt configuration */
  HAL_NVIC_SetPriority(DMA1_Channel1_IRQn, 0, 0);
  HAL_NVIC_EnableIRQ(DMA1_Channel1_IRQn);
  /* DMAMUX_OVR_IRQn interrupt configuration */
  HAL_NVIC_SetPriority(DMAMUX_OVR_IRQn, 0, 0);
  HAL_NVIC_EnableIRQ(DMAMUX_OVR_IRQn);

}

static void MX_GPIO_Init(void)
{

  /* GPIO Ports Clock Enable */
  __HAL_RCC_GPIOC_CLK_ENABLE();
  __HAL_RCC_GPIOF_CLK_ENABLE();
  __HAL_RCC_GPIOA_CLK_ENABLE();
  __HAL_RCC_GPIOB_CLK_ENABLE();

}

/* USER CODE BEGIN 4 */
/**
  * @brief  Clamp all CubeMonitor tunables to safe ranges (main-loop context).
  *         Also publishes the clamped duty ceiling for the control ISR so the
  *         ISR never reads an unclamped value.
  */
static void app_clamp_tunables(void)
{
  /* Pattern (TOCTOU-safe): read each volatile ONCE into a local, clamp the
     local with a NaN-rejecting comparison (!(v >= min) catches NaN as well as
     underrange), write the local back, and derive any cached value from the
     LOCAL — never from a re-read of the volatile.                            */
  float v;

  v = set_vout_V;
  if (!(v >= 0.0f))             { v = 0.0f; }
  else if (v > VOUT_SET_MAX_V)  { v = VOUT_SET_MAX_V; }
  set_vout_V = v;

  v = set_kp;
  if (!(v >= 0.0f))             { v = 0.0f; }
  set_kp = v;

  v = set_ki;
  if (!(v >= 0.0f))             { v = 0.0f; }
  set_ki = v;

  v = set_duty_max;
  if (!(v >= 0.0f))             { v = 0.0f; }
  else if (v > DUTY_MAX_ABS)    { v = DUTY_MAX_ABS; }
  set_duty_max = v;
  /* duty ceiling consumed by the control ISR: derived from the clamped local */
  ctrl_duty_max_cached = v;

  v = set_softstart_ms;
  if (!(v >= SOFTSTART_MS_MIN))  { v = SOFTSTART_MS_MIN; }
  else if (v > SOFTSTART_MS_MAX) { v = SOFTSTART_MS_MAX; }
  set_softstart_ms = v;

  v = set_oc_trip_A;
  if (!(v >= 0.0f))             { v = 0.0f; }
  else if (v > DAC_FULL_SCALE_A){ v = DAC_FULL_SCALE_A; }
  set_oc_trip_A = v;

  v = set_dt_ref_A;
  if (!(v >= 0.0f))             { v = 0.0f; }
  else if (v > DAC_FULL_SCALE_A){ v = DAC_FULL_SCALE_A; }
  set_dt_ref_A = v;
}

/**
  * @brief  Write the DAC comparator references when the requested trip levels
  *         change (main-loop context, never from an ISR).
  *         V_ref = I_trip * 0.25 V/A; DAC full scale = 3.3 V -> 13.2 A.
  */
static void app_apply_dac_refs(void)
{
  /* Each trip level is re-read from the volatile here, so it gets its own
     NaN-rejecting clamp: a NaN written between app_clamp_tunables() and this
     call must not reach the float->uint32 conversion (undefined for NaN).    */
  float trip;
  uint32_t counts;

  trip = set_oc_trip_A;
  if (!(trip >= 0.0f))              { trip = 0.0f; }
  else if (trip > DAC_FULL_SCALE_A) { trip = DAC_FULL_SCALE_A; }
  if (trip != dac_oc_applied_A)
  {
    counts = (uint32_t)(trip * AMPS_TO_DAC_COUNTS + 0.5f);
    if (counts > 4095u) { counts = 4095u; }
    (void)HAL_DAC_SetValue(&hdac1, DAC_CHANNEL_1, DAC_ALIGN_12B_R, counts); /* PROT_REF, PA4 */
    dac_oc_applied_A = trip;
  }

  trip = set_dt_ref_A;
  if (!(trip >= 0.0f))              { trip = 0.0f; }
  else if (trip > DAC_FULL_SCALE_A) { trip = DAC_FULL_SCALE_A; }
  if (trip != dac_dt_applied_A)
  {
    counts = (uint32_t)(trip * AMPS_TO_DAC_COUNTS + 0.5f);
    if (counts > 4095u) { counts = 4095u; }
    (void)HAL_DAC_SetValue(&hdac2, DAC_CHANNEL_1, DAC_ALIGN_12B_R, counts); /* DT_REF, PA6 */
    dac_dt_applied_A = trip;
  }
}

/**
  * @brief  Disable the power stage and return to IDLE (stop path).
  *         NOTE: __HAL_TIM_MOE_DISABLE is a silent NO-OP while any CCx/CCxN
  *         channel is enabled (CC1E/CC1NE always are here) — the
  *         _UNCONDITIONALLY variant is the only one that actually clears MOE.
  *         A freshly latched FAULT is never overwritten with IDLE; the
  *         output-off/reset actions are safe in every state.
  */
static void app_enter_idle(void)
{
  /* Outputs off first: this is the one action that must not wait. */
  __HAL_TIM_MOE_DISABLE_UNCONDITIONALLY(&htim1);

  /* Everything below is ordered so the 400 kHz control ISR cannot undo it.
     The ISR writes TIM1->CCR1 on every tick while mon_sys_state is
     SOFT_START or RUN, so the state has to leave those values BEFORE the
     compare is zeroed — otherwise a tick landing between the two writes
     re-arms a non-zero CCR1 behind the stop. Same ordering rule the test
     firmware uses when it clears power_stage_enabled ahead of stopping the
     timer.                                                                  */
  __disable_irq();
  if (mon_sys_state != SYS_STATE_FAULT)
  {
    mon_sys_state = SYS_STATE_IDLE;
  }
  ctrl_integrator = 0.0f;
  ctrl_duty_limit = 0.0f;
  ctrl_ramp_done  = 0u;
  htim1.Instance->CCR1 = 0u;
  /* CCR1 has preload enabled (OC1PE, set by HAL_TIM_PWM_ConfigChannel), so the
     write above only reaches the preload register: the active shadow keeps the
     last running duty until the next update event. That update may never come
     while the core is halted, because __HAL_DBGMCU_FREEZE_TIM1() stops the
     counter at a breakpoint. Force the latch now so the stopped state is real
     in hardware, not just pending. Safe here: MOE is already clear, so both
     outputs sit at their OSSI idle level and the counter reset this UG causes
     cannot glitch a gate. Same latch discipline the open-loop bring-up
     firmware needed, where an unlatched CCR1 ran the first period at the stale
     shadow value (100 % duty, high side full on).                             */
  htim1.Instance->EGR = TIM_EGR_UG;
  __enable_irq();
}

/**
  * @brief  Explicit FAULT -> IDLE transition (fault-clear path only).
  *         The gate condition reads the live PROT_OUT level (PA11) directly
  *         from GPIOA->IDR at the decision point, inside the critical section:
  *         clearing is refused while the OC comparator output is still high.
  *         Pending break flags are cleared and the break interrupt source is
  *         re-armed (it is masked in the break callbacks to stop an IRQ storm
  *         while BKIN2 is held asserted).
  */
static void app_clear_fault(void)
{
  __disable_irq();
  if ((mon_sys_state == SYS_STATE_FAULT) && ((GPIOA->IDR & (1u << 11)) == 0u))
  {
    __HAL_TIM_MOE_DISABLE_UNCONDITIONALLY(&htim1);  /* already off — belt and braces */
    htim1.Instance->CCR1 = 0u;
    /* latch the zero out of the CCR1 preload into the active shadow (MOE is
       clear, so the counter reset cannot glitch a gate) — see app_enter_idle() */
    htim1.Instance->EGR = TIM_EGR_UG;
    ctrl_integrator = 0.0f;
    ctrl_duty_limit = 0.0f;
    ctrl_ramp_done  = 0u;
    /* SR bits are rc_w0: writing 0 clears, writing 1 leaves untouched */
    TIM1->SR = ~(TIM_SR_BIF | TIM_SR_B2IF | TIM_SR_SBIF);
    __HAL_TIM_ENABLE_IT(&htim1, TIM_IT_BREAK);
    mon_fault_latched = 0u;
    mon_sys_state = SYS_STATE_IDLE;
  }
  __enable_irq();
}

/**
  * @brief  IDLE -> SOFT_START: reset the controller, precompute the soft-start
  *         ramp increment (division allowed here — never in the ISR) and enable
  *         MOE. This is the ONLY place in the firmware where MOE is EVER set.
  *         Inside the critical section the arm is aborted (state stays IDLE,
  *         MOE stays off) unless ALL of the following hold:
  *           - state is still IDLE (a BRK2 event racing this call wins),
  *           - no break flag is pending in TIM1->SR (a BRK2 pulse latched as a
  *             pended ISR must run its callback, not be overtaken by MOE on),
  *           - the live PROT_OUT level (PA11) is low right now.
  */
static void app_arm_soft_start(void)
{
  /* local copy of set_softstart_ms, NaN-rejecting clamp BEFORE the division:
     a raw re-read of the volatile here could see a value written after the
     main-loop clamp (TOCTOU) or a NaN.                                       */
  float ss_ms = set_softstart_ms;
  if (!(ss_ms >= SOFTSTART_MS_MIN))  { ss_ms = SOFTSTART_MS_MIN; }
  else if (ss_ms > SOFTSTART_MS_MAX) { ss_ms = SOFTSTART_MS_MAX; }

  /* full ramp 0 -> duty_max spread over ss_ms of 400 kHz ticks */
  float ramp_ticks = ss_ms * (1.0e-3f / CTRL_TS_SEC);
  float increment  = ctrl_duty_max_cached / ramp_ticks;  /* ss_ms clamped >= 1 ms */

  __disable_irq();
  if ((mon_sys_state == SYS_STATE_IDLE) &&
      ((TIM1->SR & (TIM_SR_B2IF | TIM_SR_BIF | TIM_SR_SBIF)) == 0u) &&
      ((GPIOA->IDR & (1u << 11)) == 0u))
  {
    htim1.Instance->CCR1 = 0u;
    /* CRITICAL ORDERING: CCR1 is a preload register (OC1PE is set by
       HAL_TIM_PWM_ConfigChannel), so the zero above does not reach the active
       shadow until an update event. Force it in with UG BEFORE MOE is enabled
       below — otherwise the first switching period after arming runs at the
       stale shadow duty. That is exactly the failure the open-loop bring-up
       firmware hit (CCR1 850 against ARR 424 = 100 % duty, high side full on),
       and it is reachable here whenever TIM1 has been frozen by
       __HAL_DBGMCU_FREEZE_TIM1() across a halt, so no update event refreshed
       the shadow after the previous stop. Issuing UG while MOE is still clear
       means the counter reset it causes cannot glitch a gate.                 */
    htim1.Instance->EGR = TIM_EGR_UG;
    ctrl_integrator   = 0.0f;
    ctrl_duty_limit   = 0.0f;
    ctrl_ss_increment = increment;
    ctrl_ramp_done    = 0u;
    /* re-arm the break interrupt source (masked in the break callbacks while
       BKIN2 was held asserted); pending flags verified clear just above     */
    __HAL_TIM_ENABLE_IT(&htim1, TIM_IT_BREAK);
    mon_sys_state     = SYS_STATE_SOFT_START;
    __HAL_TIM_MOE_ENABLE(&htim1);
  }
  __enable_irq();
}

/**
  * @brief  400 kHz control-loop body. Called directly from
  *         DMA1_Channel1_IRQHandler (stm32g4xx_it.c) on the transfer-complete
  *         of the dual regular-simultaneous conversion (TIM1 TRGO triggered),
  *         bypassing HAL DMA dispatch.
  *         Budget < 1 us: direct register access only, no divisions, no HAL calls.
  */
void Buck_CtrlLoopISR(void)
{
  uint32_t raw   = adc_dual_raw;  /* ADC1 (V_FB) low half, ADC2 (SENSE_OUT) high half */
  float    vout  = (float)(raw & 0x0FFFu) * ADC_RAW_TO_VOUT_V;
  float    iout  = (float)((raw >> 16) & 0x0FFFu) * ADC_RAW_TO_AMPS;
  uint8_t  state = mon_sys_state;

  mon_vout_V    = vout;
  mon_current_A = iout;

  if ((state == SYS_STATE_SOFT_START) || (state == SYS_STATE_RUN))
  {
    float duty_limit;
    float error;
    float integ;
    float duty;

    if (state == SYS_STATE_SOFT_START)
    {
      /* linear duty-limit ramp 0 -> duty_max over set_softstart_ms */
      duty_limit = ctrl_duty_limit + ctrl_ss_increment;
      if (duty_limit >= ctrl_duty_max_cached)
      {
        duty_limit = ctrl_duty_max_cached;
        /* ramp complete: signal the main loop, which performs the
           SOFT_START -> RUN transition in a critical section. The ISR never
           writes mon_sys_state (single ISR writer = the break/fault paths);
           this branch keeps running harmlessly at the saturated limit until
           the main loop transitions.                                        */
        ctrl_ramp_done = 1u;
      }
      ctrl_duty_limit = duty_limit;
    }
    else
    {
      duty_limit = ctrl_duty_max_cached;    /* clamped by the main loop */
      ctrl_duty_limit = duty_limit;
    }

    /* PI with anti-windup: integrator and total output clamped to [0, duty_limit].
       NaN-rejecting form (!(x >= 0) is true for NaN): set_vout_V/set_kp/set_ki are
       read raw here at 400 kHz, between main-loop clamp passes — a NaN written
       over SWD must not stick in the integrator (NaN + x = NaN forever).        */
    error = set_vout_V - vout;
    integ = ctrl_integrator + (error * set_ki * CTRL_TS_SEC);
    if (!(integ >= 0.0f))        { integ = 0.0f; }
    else if (integ > duty_limit) { integ = duty_limit; }
    ctrl_integrator = integ;

    duty = (set_kp * error) + integ;
    if (!(duty >= 0.0f))         { duty = 0.0f; }
    else if (duty > duty_limit)  { duty = duty_limit; }

    TIM1->CCR1 = (uint32_t)(duty * PWM_PERIOD_TICKS);
  }

  /* PWM monitor variables (valid in every state) */
  {
    uint32_t ccr = TIM1->CCR1;
    uint8_t  moe = ((TIM1->BDTR & TIM_BDTR_MOE) != 0u) ? 1u : 0u;

    if (moe != 0u)
    {
      float hs_pct = (float)ccr * CCR_TO_PCT;
      float ls_pct = 100.0f - hs_pct - PWM_DEADTIME_PCT;
      if (ls_pct < 0.0f) { ls_pct = 0.0f; }
      mon_pwm_hs_duty_pct = hs_pct;
      mon_pwm_ls_duty_pct = ls_pct;
    }
    else
    {
      mon_pwm_hs_duty_pct = 0.0f;
      mon_pwm_ls_duty_pct = 0.0f;
    }
    mon_pwm_hs_active = (uint8_t)((moe != 0u) && (ccr > 0u));
    mon_pwm_ls_active = moe;
  }

  mon_ctrl_loop_count++;   /* heartbeat consumed by the main-loop IWDG gate */
}

/**
  * @brief  TIM1 BRK2 event (BKIN2 = PA11 = PROT_OUT, overcurrent comparator,
  *         active high). Hardware clears MOE on the break event, but that is
  *         NOT sufficient here: a BRK2 pulse can be latched as a pended ISR
  *         while the arming path's software MOE-enable executes AFTER the
  *         hardware clear, so this callback can run with MOE back on. The
  *         explicit unconditional disable below closes that race. MOE is
  *         never re-enabled here (AutomaticOutput is disabled).
  */
void HAL_TIMEx_Break2Callback(TIM_HandleTypeDef *htim)
{
  if (htim->Instance == TIM1)
  {
    __HAL_TIM_MOE_DISABLE_UNCONDITIONALLY(&htim1);
    TIM1->CCR1 = 0u;
    /* mask the break interrupt source: while BKIN2 is held asserted the flag
       re-pends immediately after every clear (IRQ storm). Re-armed only in
       app_clear_fault() / app_arm_soft_start().                             */
    __HAL_TIM_DISABLE_IT(htim, TIM_IT_BREAK);
    mon_fault_latched = 1u;
    mon_sys_state = SYS_STATE_FAULT;
  }
}

/**
  * @brief  TIM1 BRK1 event. BRK1 is disabled in the generated configuration, but
  *         a system break (e.g. CSS) lands on the same flag path — handle it the
  *         same way as BRK2 for defence in depth.
  */
void HAL_TIMEx_BreakCallback(TIM_HandleTypeDef *htim)
{
  if (htim->Instance == TIM1)
  {
    __HAL_TIM_MOE_DISABLE_UNCONDITIONALLY(&htim1);
    TIM1->CCR1 = 0u;
    /* same masking as the BRK2 path: BIF/B2IF share one enable bit (BIE) */
    __HAL_TIM_DISABLE_IT(htim, TIM_IT_BREAK);
    mon_fault_latched = 1u;
    mon_sys_state = SYS_STATE_FAULT;
  }
}
/* USER CODE END 4 */

void Error_Handler(void)
{
  /* USER CODE BEGIN Error_Handler_Debug */
  /* User can add his own implementation to report the HAL error return state */
  /* kill the power stage first: a persistent init failure must spin with both
     gate outputs off. IWDG still resets after 2 s; the boot path never touches
     MOE, so each reset loop is safe.
     Clearing MOE is the whole job, and CC1E/CC1NE are deliberately LEFT SET:
     with OSSI enabled that makes TIM1 actively drive PA8/PA7 to their idle
     level (OCIdleState/OCNIdleState = RESET -> low, both FETs off). Clearing
     CC1E/CC1NE as well would put the channel in the "output disabled" row of
     the complementary-output control table and release both gate pins to
     high-Z, leaving the driver inputs floating next to a switching node. This
     is the same OSSI reasoning the boot sequence in USER CODE 2 relies on.
     Direct BDTR write, not __HAL_TIM_MOE_DISABLE, because that HAL macro is a
     silent no-op while any CCx/CCxN channel is enabled.                       */
  TIM1->BDTR &= ~TIM_BDTR_MOE;
  __disable_irq();
  while (1)
  {
  }
  /* USER CODE END Error_Handler_Debug */
}
